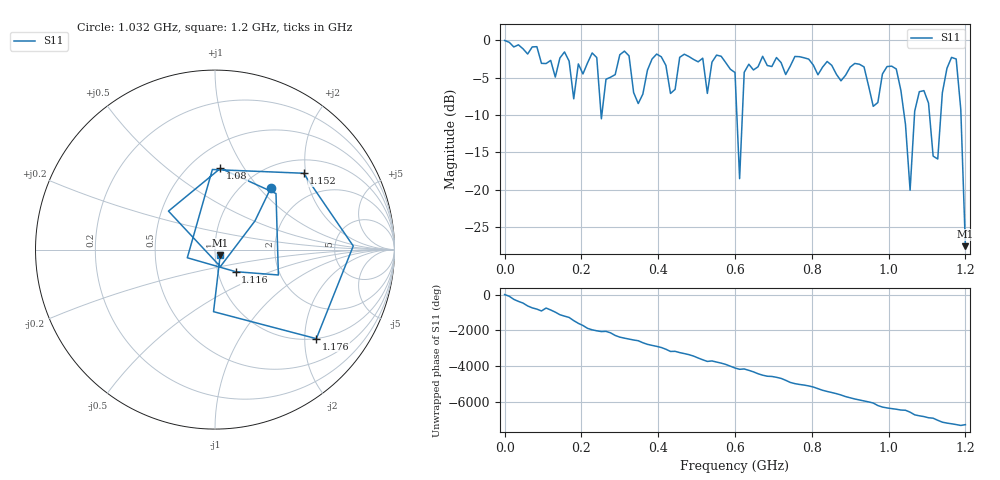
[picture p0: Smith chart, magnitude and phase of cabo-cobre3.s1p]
# HZ S RI R 50
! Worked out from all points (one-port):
!   101 points, 50 kHz to 1.2 GHz, reference 50 ohm
!   lowest |S11| = -27.5 dB at 1.2 GHz (marker M1), VSWR 1.09, Z = 52.9 - j3.21 ohm
!   |S11| at or under -10 dB: 251.3 MHz to 253.1 MHz (1.819 MHz wide, 0.721 % of centre); 1.041 GHz to 1.067 GHz (26.68 MHz wide, 2.53 % of centre); 1.107 GHz to 1.136 GHz (29.23 MHz wide, 2.61 % of centre) (the widest 3 of 5)
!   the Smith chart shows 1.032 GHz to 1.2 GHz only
!   S11 on the Smith chart (normalised r, x): 1.032 GHz: 1.33, +1.16; 1.08 GHz: 0.69, +0.79; 1.116 GHz: 1.22, -0.31; 1.152 GHz: 1.32, +1.94; 1.176 GHz: 1.00, -2.28; 1.2 GHz: 1.06, -0.06
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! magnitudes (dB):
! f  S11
! 50 kHz  0.0
! 156 MHz  -1.5
! 180 MHz  -7.8
! 240 MHz  -2.3
! 252 MHz  -10.5
! 300 MHz  -1.9
! 348 MHz  -8.4
! 384 MHz  -2.5
! 432 MHz  -7.1
! 456 MHz  -2.3
! 600 MHz  -4.3
! 612 MHz  -18.5
! 624 MHz  -4.3
! 756 MHz  -2.1
! 900 MHz  -3.6
! 960 MHz  -8.8
! 996 MHz  -3.5
! 1.032 GHz  -6.7
! 1.056 GHz  -20.1
! 1.068 GHz  -9.5
! 1.08 GHz  -6.9
! 1.104 GHz  -8.4
! 1.116 GHz  -15.5
! 1.128 GHz  -15.9
! 1.152 GHz  -3.7
! 1.176 GHz  -2.5
! 1.188 GHz  -9.2
! 1.2 GHz  -27.5
